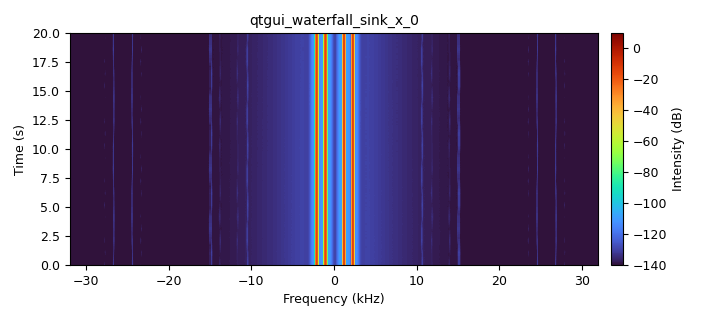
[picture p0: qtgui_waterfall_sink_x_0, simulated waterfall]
options:
  parameters:
    generate_options: qt_gui
    id: test
    output_language: python
    title: top_block
  states: {}

blocks:
- name: samp_rate
  id: variable
  parameters:
    value: '64000'
  states: {}
- name: analog_sig_source_x_0
  id: analog_sig_source_x
  parameters:
    amp: '1'
    freq: '1100'
    offset: '0'
    phase: '0'
    samp_rate: samp_rate
    type: float
    waveform: analog.GR_COS_WAVE
  states: {}
- name: analog_sig_source_x_0_0
  id: analog_sig_source_x
  parameters:
    amp: '1'
    freq: '2200'
    offset: '0'
    phase: '0'
    samp_rate: samp_rate
    type: float
    waveform: analog.GR_COS_WAVE
  states: {}
- name: blocks_add_xx_0
  id: blocks_add_xx
  parameters:
    type: float
  states: {}
- name: blocks_sub_xx_1
  id: blocks_sub_xx
  parameters:
    type: float
  states: {}
- name: blocks_throttle_0
  id: blocks_throttle
  parameters:
    samples_per_second: samp_rate
    type: float
  states: {}
- name: qtgui_waterfall_sink_x_0
  id: qtgui_waterfall_sink_x
  parameters:
    bw: samp_rate
    fc: '0'
    fftsize: '1024'
    type: float
    wintype: firdes.WIN_BLACKMAN_hARRIS
  states: {}

connections:
- [analog_sig_source_x_0, '0', blocks_add_xx_0, '0']
- [analog_sig_source_x_0_0, '0', blocks_add_xx_0, '1']
- [blocks_add_xx_0, '0', blocks_throttle_0, '0']
- [blocks_throttle_0, '0', qtgui_waterfall_sink_x_0, '0']

metadata:
  file_format: 1
